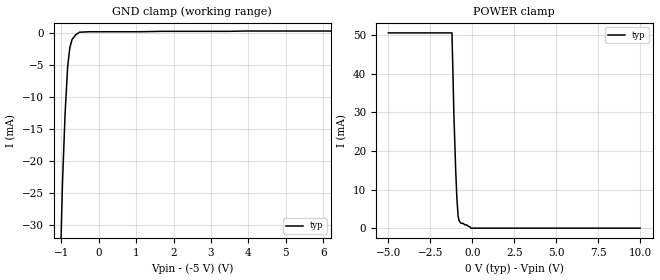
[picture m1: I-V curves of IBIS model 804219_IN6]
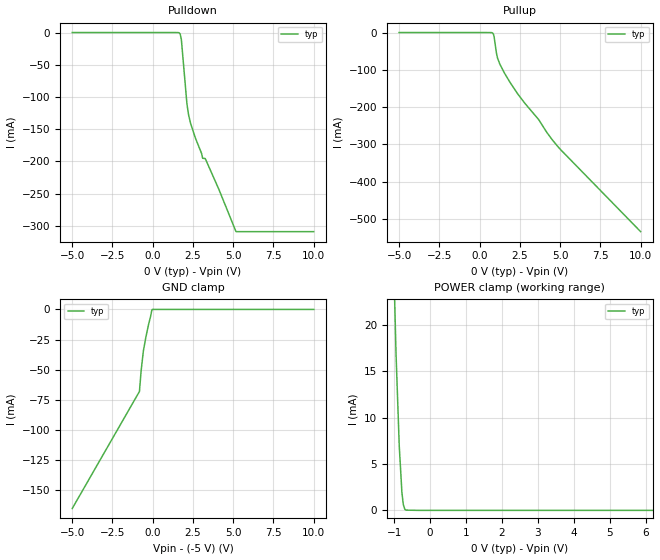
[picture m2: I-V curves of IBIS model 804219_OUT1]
[IBIS Ver] 3.1
[File Name] mc100el11d_-50.ibs
[File Rev] 1.0
[Source] Measured and created by ICX Technology
[Date] 1/13/2004
[Copyright]
| COPYRIGHT(C) MENTOR GRAPHICS CORPORATION 2001 ALL
| RIGHTS RESERVED. THIS WORK CONTAINS PROPRIETARY
| INFORMATION WHICH IS THE PROPERTY OF MENTOR GRAPHICS
| CORPORATION OR ITS LICENSORS. USE OF THESE MATERIALS
| IS SUBJECT TO THE TERMS BELOW.
| USE: MENTOR GRAPHICS HAS LICENSED IBIS MODELS TO
| SPECIFIC INTEGRATED CIRCUIT SUPPLIERS ("IC VENDORS")
| FOR USE AND DISTRIBUTION AS FOLLOWS: EACH IC VENDOR
| MAY USE IBIS MODELS, AND DISTRIBUTE THEM TO IC VENDOR'S
| CUSTOMERS TO USE, SOLELY FOR DEVELOPING PRINTED
| CIRCUIT BOARD DESIGNS. NO OTHER USE OR DISTRIBUTION
| OF THESE MATERIALS IS PERMITTED.
|  ZAP Model Builder 3.2
[Component] MC100EL11D_-50
[Manufacturer] OnSemiconductor
[Package]
| variable   typ   min   max
R_pkg  .152ohms NA NA
L_pkg  2.714nH NA NA
C_pkg  .364pF NA NA
[Pin] signal_name  model_name  R_pin  L_pin C_pin
1 Q0 804219_OUT1 .154 2.924n .374p
2 _Q0 804219_OUT1 .15 2.504n .354p
3 Q1 804219_OUT1 .15 2.504n .354p
4 _Q1 804219_OUT1 .154 2.924n .374p
5 VEE POWER .154 2.924n .374p
6 _D 804219_IN6 .15 2.504n .354p
7 D 804219_IN6 .15 2.504n .354p
8 VCC POWER .154 2.924n .374p
[Diff Pin] inv_pin vdiff tdelay_typ tdelay_min tdelay_max
1 2 NA 0.340ns 0.365ns 0.340ns
3 4 NA 0.340ns 0.365ns 0.340ns
7 6 350mV NA NA NA
| Models and submodels in the file (2): 804219_IN6 (Input_ECL), 804219_OUT1 (Output_ECL)
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| COPYRIGHT(C) MENTOR GRAPHICS CORPORATION 2001 ALL
| RIGHTS RESERVED. THIS WORK CONTAINS PROPRIETARY
| INFORMATION WHICH IS THE PROPERTY OF MENTOR GRAPHICS
| CORPORATION OR ITS LICENSORS. USE OF THESE MATERIALS
| IS SUBJECT TO THE TERMS BELOW.
| USE: MENTOR GRAPHICS HAS LICENSED IBIS MODELS TO
| SPECIFIC INTEGRATED CIRCUIT SUPPLIERS ("IC VENDORS")
| FOR USE AND DISTRIBUTION AS FOLLOWS: EACH IC VENDOR
| MAY USE IBIS MODELS, AND DISTRIBUTE THEM TO IC VENDOR'S
| CUSTOMERS TO USE, SOLELY FOR DEVELOPING PRINTED
| CIRCUIT BOARD DESIGNS. NO OTHER USE OR DISTRIBUTION
| OF THESE MATERIALS IS PERMITTED.
| Model Application Version 1.89 2/18/99.
[Model] 804219_IN6
Model_type Input_ECL
Vinl = -1.475V
Vinh = -1.165V
C_comp 2.00pF NA NA
| variable typ   min   max
[Voltage Range] -5.000V NA NA
[GND Clamp Reference] -5.000V NA NA
[POWER Clamp Reference] 0.000V NA NA
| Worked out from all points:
|   GND clamp passes 1 mA (typ) near -0.70 V on its own axis
|   POWER clamp passes 1 mA (typ) near -0.48 V on its own axis
[GND Clamp]
-5V       -127mA     NA         NA
-1.222V   -82.1mA    NA         NA
-970mV    -23.72mA   NA         NA
-899mV    -12.63mA   NA         NA
-830mV    -5.292mA   NA         NA
-773mV    -2.365mA   NA         NA
-713mV    -1.065mA   NA         NA
-615mV    -324.6uA   NA         NA
-513mV    74.95uA    NA         NA
3.914V    264.2uA    NA         NA
10V       264.2uA    NA         NA
[POWER Clamp]
-5V       50.62mA    NA         NA
-1.211V   50.62mA    NA         NA
-1.094V   29.19mA    NA         NA
-991mV    15.2mA     NA         NA
-917mV    7.596mA    NA         NA
-844mV    3.099mA    NA         NA
-786mV    1.927mA    NA         NA
-666.5mV  1.243mA    NA         NA
-347mV    854.7uA    NA         NA
-76mV     0A         NA         NA
10V       0A         NA         NA
| COPYRIGHT(C) MENTOR GRAPHICS CORPORATION 2001 ALL
| RIGHTS RESERVED. THIS WORK CONTAINS PROPRIETARY
| INFORMATION WHICH IS THE PROPERTY OF MENTOR GRAPHICS
| CORPORATION OR ITS LICENSORS. USE OF THESE MATERIALS
| IS SUBJECT TO THE TERMS BELOW.
| USE: MENTOR GRAPHICS HAS LICENSED IBIS MODELS TO
| SPECIFIC INTEGRATED CIRCUIT SUPPLIERS ("IC VENDORS")
| FOR USE AND DISTRIBUTION AS FOLLOWS: EACH IC VENDOR
| MAY USE IBIS MODELS, AND DISTRIBUTE THEM TO IC VENDOR'S
| CUSTOMERS TO USE, SOLELY FOR DEVELOPING PRINTED
| CIRCUIT BOARD DESIGNS. NO OTHER USE OR DISTRIBUTION
| OF THESE MATERIALS IS PERMITTED.
| Model Application Version 1.89 2/18/99.
[Model] 804219_OUT1
Model_type Output_ECL
Vref=-2.000V
Rref=50.00ohms
Cref=0.000F
Vmeas=-1.320V
C_comp 2.000pF NA NA
| variable typ   min   max
[Voltage Range] -5.000V NA NA
[POWER Clamp Reference] 0.000V NA NA
[Pullup Reference] 0.000V NA NA
[Pulldown Reference] 0.000V NA NA
[GND Clamp Reference] -5.000V NA NA
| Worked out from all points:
|   GND clamp passes 1 mA (typ) near -0.06 V on its own axis
|   POWER clamp passes 1 mA (typ) near -0.76 V on its own axis
[GND Clamp]
-5V       -165mA     NA         NA
-825mV    -68mA      NA         NA
-722mV    -51mA      NA         NA
-581mV    -34.4mA    NA         NA
-435mV    -23.6mA    NA         NA
-268mV    -13mA      NA         NA
-132mV    -5.8mA     NA         NA
-62mV     -900uA     NA         NA
-43mV     -200uA     NA         NA
-21.5mV   0A         NA         NA
10V       0A         NA         NA
[Pulldown]
-5V       230.2uA    NA         NA
1.646V    -301.8uA   NA         NA
1.704V    -1.99mA    NA         NA
1.777V    -10.37mA   NA         NA
2.124V    -110.6mA   NA         NA
2.224V    -127.4mA   NA         NA
2.35V     -140.8mA   NA         NA
3.037V    -187.8mA   NA         NA
3.101V    -195.1mA   NA         NA
3.306V    -198mA     NA         NA
5.161V    -308.5mA   NA         NA
10V       -309.1mA   NA         NA
[Pullup]
-5V       174.2uA    NA         NA
808.8mV   -1.075mA   NA         NA
897mV     -10.17mA   NA         NA
1.045V    -54.86mA   NA         NA
1.113V    -68.41mA   NA         NA
1.252V    -84.12mA   NA         NA
1.529V    -107.6mA   NA         NA
2.363V    -164.3mA   NA         NA
3.667V    -233.4mA   NA         NA
4.185V    -268.6mA   NA         NA
4.957V    -310.9mA   NA         NA
10V       -534.3mA   NA         NA
[POWER Clamp]
-5V       222.4mA    NA         NA
-1.035V   29.93mA    NA         NA
-948.8mV  16.81mA    NA         NA
-859.3mV  6.923mA    NA         NA
-785.9mV  1.946mA    NA         NA
-747.2mV  639.9uA    NA         NA
-703.8mV  107.1uA    NA         NA
-665mV    25.4uA     NA         NA
10.4V     0A         NA         NA
[Ramp]
| variable typ min max
dV/dt_r 479.5m/237.1p NA NA
dV/dt_f 479.5m/203.9p NA NA
R_load = 50.00Ohms
